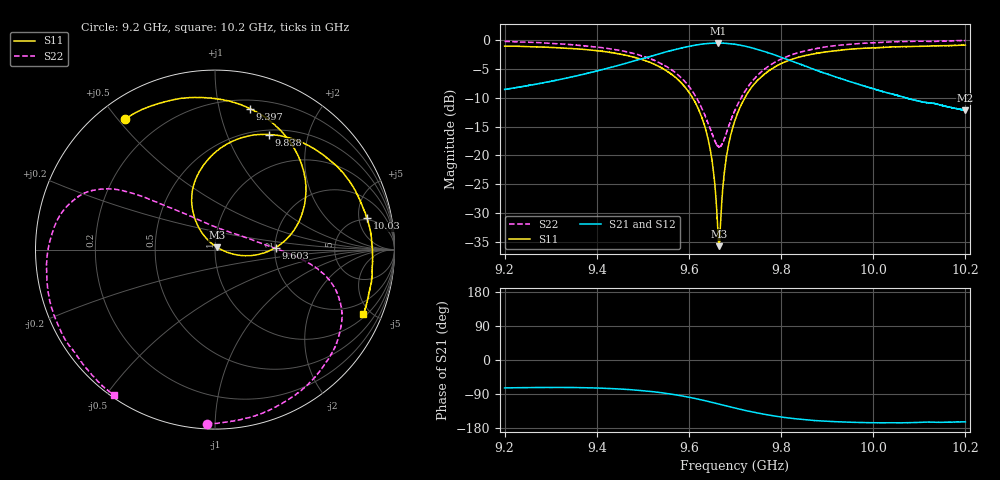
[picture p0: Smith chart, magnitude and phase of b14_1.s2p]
!Agilent Technologies,N5242A,MY51221714,A.09.90.19
!Agilent N5242A: A.09.90.19
!Date: Saturday, December 30, 2023 10:06:22
!Correction: S11(Full 2 Port(1,2))
!S21(Full 2 Port(1,2))
!S12(Full 2 Port(1,2))
!S22(Full 2 Port(1,2))
!S2P File: Measurements: S11, S21, S12, S22:
# Hz S  dB  R 50
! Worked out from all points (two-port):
!   16001 points, 9.2 GHz to 10.2 GHz, reference 50 ohm
!   highest |S21| = -0.54 dB at 9.663 GHz (marker M1); lowest = -12.2 dB at 10.2 GHz (marker M2)
!   |S21| within 3 dB of the highest: 9.486 GHz to 9.819 GHz (332.8 MHz wide, 3.45 % of centre); 9.818671 GHz to 9.818704 GHz (33.21 kHz wide, 0.000338 % of centre)
!   lowest |S11| = -35.7 dB at 9.665 GHz (marker M3), VSWR 1.03, Z = 51.1 + j1.26 ohm
!   |S11| at or under -10 dB: 9.608 GHz to 9.722 GHz (114 MHz wide, 1.18 % of centre)
!   |S22| runs from -18.5 to -0.1 dB; largest |S21 - S12| = 0.013
!   S11 on the Smith chart (normalised r, x): 9.2 GHz: 0.08, +0.52; 9.397 GHz: 0.27, +1.24; 9.603 GHz: 2.02, +0.05; 9.838 GHz: 0.55, +1.42; 10.03 GHz: 4.66, +6.47; 10.2 GHz: 1.16, -4.50
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9.2e9  -1.08 124.6  -8.58 -73.7  -8.56 -74.3  -0.24 -92.7
9.278e9  -1.24 106.5  -7.52 -72.6  -7.52 -73.1  -0.50 -71.5
9.366688e9  -1.62 84.3  -6.04 -73.0  -6.02 -73.6  -0.99 -48.7
9.396875e9  -1.85 76.0  -5.45 -73.8  -5.43 -74.5  -1.22 -41.3
9.466625e9  -2.72 55.0  -3.97 -77.7  -3.96 -78.4  -2.10 -26.0
9.533375e9  -4.55 31.4  -2.47 -85.2  -2.46 -85.8  -3.85 -13.9
9.603125e9  -9.44 1.7  -1.07 -99.0  -1.05 -99.7  -8.37 -1.4
9.643062e9  -17.71 -13.4  -0.61 -109.7  -0.61 -110.4  -14.71 21.4
9.653562e9  -22.96 -12.8  -0.56 -112.8  -0.56 -113.5  -16.92 37.9
9.663438e9  -33.93 26.2  -0.54 -115.8  -0.54 -116.4  -18.42 62.7
9.66475e9  -35.70 48.5  -0.56 -116.1  -0.55 -116.8  -18.48 67.1
9.668125e9  -32.39 99.9  -0.55 -117.2  -0.55 -117.8  -18.43 76.9
9.681062e9  -20.42 128.0  -0.61 -121.1  -0.60 -121.7  -16.18 108.7
9.7e9  -13.96 123.1  -0.77 -126.7  -0.75 -127.4  -12.16 128.3
9.750625e9  -6.89 100.2  -1.71 -140.2  -1.68 -141.0  -6.00 143.8
9.838188e9  -3.00 64.9  -4.10 -156.0  -4.10 -156.6  -2.19 155.4
9.866688e9  -2.47 55.3  -4.95 -159.2  -4.94 -159.8  -1.65 159.8
9.949938e9  -1.61 31.3  -7.23 -164.2  -7.23 -164.9  -0.76 175.6
1.003012e10  -1.26 11.7  -9.15 -165.6  -9.15 -166.3  -0.38 -166.7
1.003338e10  -1.25 10.9  -9.22 -165.6  -9.21 -166.3  -0.37 -166.0
1.01995e10  -0.90 -23.4  -12.20 -163.1  -12.17 -163.9  -0.11 -125.0
1.02e10  -0.90 -23.6  -12.19 -163.2  -12.19 -163.9  -0.11 -124.9
